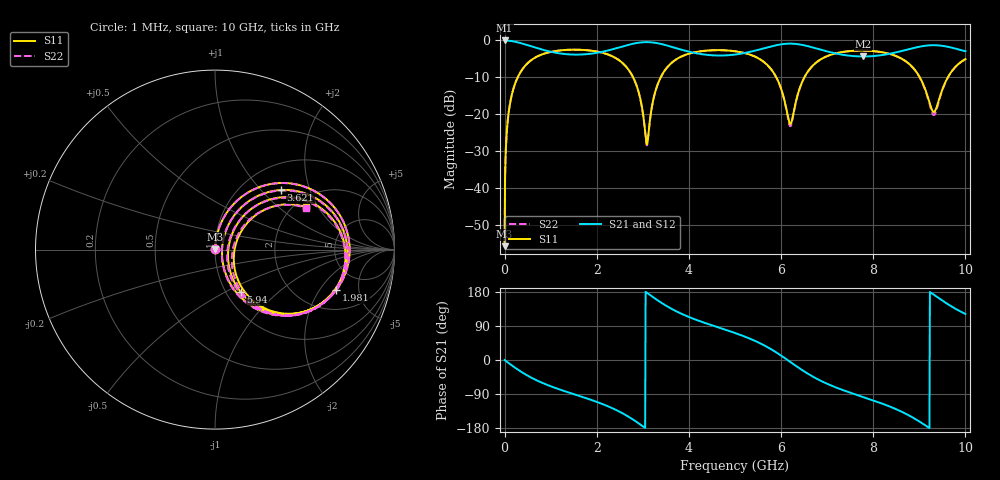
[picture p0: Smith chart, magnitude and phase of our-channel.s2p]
! Created with skrf 2.0.1 (http://scikit-rf.org).
# Hz S RI R 50.0
!freq ReS11 ImS11 ReS21 ImS21 ReS12 ImS12 ReS22 ImS22
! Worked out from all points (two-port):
!   1001 points, 1 MHz to 10 GHz, reference 50 ohm
!   highest |S21| = -0.01 dB at 1 MHz (marker M1); lowest = -4.3 dB at 7.78 GHz (marker M2)
!   |S21| within 3 dB of the highest: 2.143 GHz to 3.991 GHz (1.848 GHz wide, 60.3 % of centre); 5.353 GHz to 7.011 GHz (1.659 GHz wide, 26.8 % of centre)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
!   lowest |S11| = -55.6 dB at 1 MHz (marker M3), VSWR 1.00, Z = 50.1 + j0.126 ohm
!   |S11| at or under -10 dB: 2.79 GHz to 3.388 GHz (597.2 MHz wide, 19.3 % of centre); 5.897 GHz to 6.505 GHz (607.8 MHz wide, 9.8 % of centre); 9.012 GHz to 9.618 GHz (606.5 MHz wide, 6.51 % of centre)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
!   |S22| runs from -55.6 to -2.5 dB; largest |S21 - S12| = 0
!   S11 on the Smith chart (normalised r, x): 1 MHz: 1.00, +0.00; 1.981 GHz: 3.17, -2.88; 3.621 GHz: 1.48, +1.30; 5.94 GHz: 1.17, -0.60; 10 GHz: 2.30, +1.58
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1000000  0.00108 0.00126  0.9989 -0.00168  0.9989 -0.00168  0.00108 0.00126
6.0994e7  0.00954 0.073  0.9897 -0.0978  0.9897 -0.0978  0.00955 0.073
9.0991e7  0.0185 0.1072  0.9802 -0.144  0.9802 -0.144  0.0185 0.1072
3.0097e8  0.151 0.2959  0.8395 -0.4164  0.8395 -0.4164  0.1512 0.2958
9.70903e8  0.6413 0.2612  0.2676 -0.6575  0.2676 -0.6575  0.6419 0.2596
1.670833e9  0.742 -0.0788  -0.0766 -0.6408  -0.0766 -0.6408  0.7416 -0.082
1.980802e9  0.6755 -0.2244  -0.2276 -0.6369  -0.2276 -0.6369  0.6742 -0.228
2.740726e9  0.1916 -0.3051  -0.7948 -0.396  -0.7948 -0.396  0.1887 -0.3068
2.920708e9  0.0761 -0.1728  -0.9131 -0.1933  -0.9131 -0.1933  0.0737 -0.1736
3.080692e9  0.0391 -0.0101  -0.948 0.0309  -0.948 0.0309  0.0378 -0.0103
3.340666e9  0.1428 0.2319  -0.8323 0.3716  -0.8323 0.3716  0.1434 0.2313
3.620638e9  0.3675 0.332  -0.5827 0.578  -0.5827 0.578  0.3696 0.3295
4.260574e9  0.7009 0.1395  -0.1307 0.641  -0.1307 0.641  0.7021 0.1327
5.0005e9  0.6844 -0.2042  0.2068 0.6102  0.2068 0.6102  0.6813 -0.2132
5.940406e9  0.1445 -0.2378  0.8363 0.2493  0.8363 0.2493  0.1372 -0.2408
6.210379e9  0.0746 0.00295  0.8993 -0.0939  0.8993 -0.0939  0.0699 0.00244
6.670333e9  0.3389 0.2873  0.5964 -0.547  0.5964 -0.547  0.3401 0.2847
7.780222e9  0.7241 -0.0823  -0.0811 -0.6014  -0.0811 -0.6014  0.7219 -0.0952
8.340166e9  0.5879 -0.3027  -0.347 -0.5582  -0.347 -0.5582  0.5798 -0.3161
8.910109e9  0.2455 -0.3091  -0.7271 -0.3315  -0.7271 -0.3315  0.2322 -0.3165
9.310069e9  0.1065 -0.0177  -0.8547 0.1107  -0.8547 0.1107  0.0965 -0.0184
1e10  0.5069 0.2365  -0.3726 0.609  -0.3726 0.609  0.5076 0.2315
